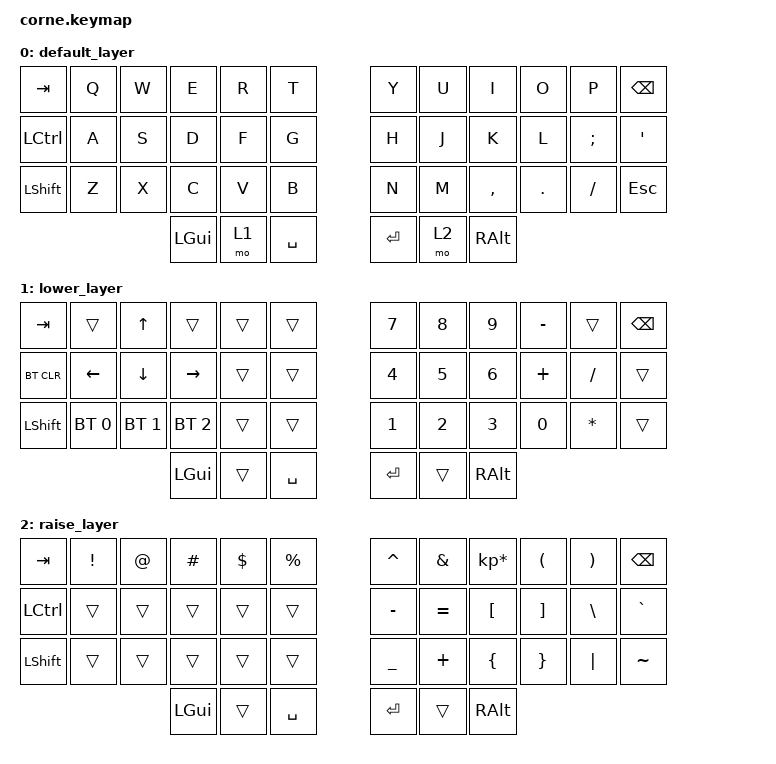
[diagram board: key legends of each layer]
/*
 * Copyright (c) 2020 The ZMK Contributors
 *
 * SPDX-License-Identifier: MIT
 */

#include <behaviors.dtsi>
#include <dt-bindings/zmk/bt.h>
#include <dt-bindings/zmk/keys.h>

/ {
    combos {
        compatible = "zmk,combos";

        alt,ctl,del {
            bindings = <&sk LA(LC(DEL))>;
            key-positions = <0 11>;
            layers = <0>;
        };
    };

    macros {
        new_macro: new_macro {
            compatible = "zmk,behavior-macro";
            #binding-cells = <0>;
            bindings = <&none>;
            label = "NEW_MACRO";
        };
    };

    keymap {
        compatible = "zmk,keymap";

        default_layer {
            // -----------------------------------------------------------------------------------------
            // |  TAB |  Q  |  W  |  E  |  R  |  T  |   |  Y  |  U   |  I  |  O  |  P  | BKSP |
            // | CTRL |  A  |  S  |  D  |  F  |  G  |   |  H  |  J   |  K  |  L  |  ;  |  '   |
            // | SHFT |  Z  |  X  |  C  |  V  |  B  |   |  N  |  M   |  ,  |  .  |  /  | ESC  |
            //                    | GUI | LWR | SPC |   | ENT | RSE  | ALT |

            bindings = <
&kp TAB    &kp Q  &kp W  &kp E     &kp R  &kp T        &kp Y    &kp U  &kp I      &kp O    &kp P     &kp BSPC
&kp LCTRL  &kp A  &kp S  &kp D     &kp F  &kp G        &kp H    &kp J  &kp K      &kp L    &kp SEMI  &kp SQT
&kp LSHFT  &kp Z  &kp X  &kp C     &kp V  &kp B        &kp N    &kp M  &kp COMMA  &kp DOT  &kp FSLH  &kp ESC
                         &kp LGUI  &mo 1  &kp SPACE    &kp RET  &mo 2  &kp RALT
            >;
        };

        lower_layer {
            // -----------------------------------------------------------------------------------------
            // |  TAB |  1  |  2  |  3  |  4  |  5  |   |  6  |  7  |  8  |  9  |  0  | BKSP |
            // | BTCLR| BT1 | BT2 | BT3 | BT4 | BT5 |   | LFT | DWN |  UP | RGT |     |      |
            // | SHFT |     |     |     |     |     |   |     |     |     |     |     |      |
            //                    | GUI |     | SPC |   | ENT |     | ALT |

            bindings = <
&kp TAB     &trans          &kp UP_ARROW    &trans        &trans  &trans       &kp NUMBER_7  &kp NUMBER_8  &kp NUMBER_9  &kp MINUS     &trans        &kp BSPC
&bt BT_CLR  &kp LEFT_ARROW  &kp DOWN_ARROW  &kp RIGHT     &trans  &trans       &kp NUMBER_4  &kp NUMBER_5  &kp NUMBER_6  &kp PLUS      &kp SLASH     &trans
&kp LSHFT   &bt BT_SEL 0    &bt BT_SEL 1    &bt BT_SEL 2  &trans  &trans       &kp NUMBER_1  &kp NUMBER_2  &kp NUMBER_3  &kp NUMBER_0  &kp ASTERISK  &trans
                                            &kp LGUI      &trans  &kp SPACE    &kp RET       &trans        &kp RALT
            >;
        };

        raise_layer {
            // -----------------------------------------------------------------------------------------
            // |  TAB |  !  |  @  |  #  |  $  |  %  |   |  ^  |  &  |  *  |  (  |  )  | BKSP |
            // | CTRL |     |     |     |     |     |   |  -  |  =  |  [  |  ]  |  \  |  `   |
            // | SHFT |     |     |     |     |     |   |  _  |  +  |  {  |  }  | "|" |  ~   |
            //                    | GUI |     | SPC |   | ENT |     | ALT |

            bindings = <
&kp TAB    &kp EXCL  &kp AT  &kp HASH  &kp DLLR  &kp PRCNT    &kp CARET  &kp AMPS   &kp KP_MULTIPLY  &kp LPAR  &kp RPAR  &kp BSPC
&kp LCTRL  &trans    &trans  &trans    &trans    &trans       &kp MINUS  &kp EQUAL  &kp LBKT         &kp RBKT  &kp BSLH  &kp GRAVE
&kp LSHFT  &trans    &trans  &trans    &trans    &trans       &kp UNDER  &kp PLUS   &kp LBRC         &kp RBRC  &kp PIPE  &kp TILDE
                             &kp LGUI  &trans    &kp SPACE    &kp RET    &trans     &kp RALT
            >;
        };
    };
};
